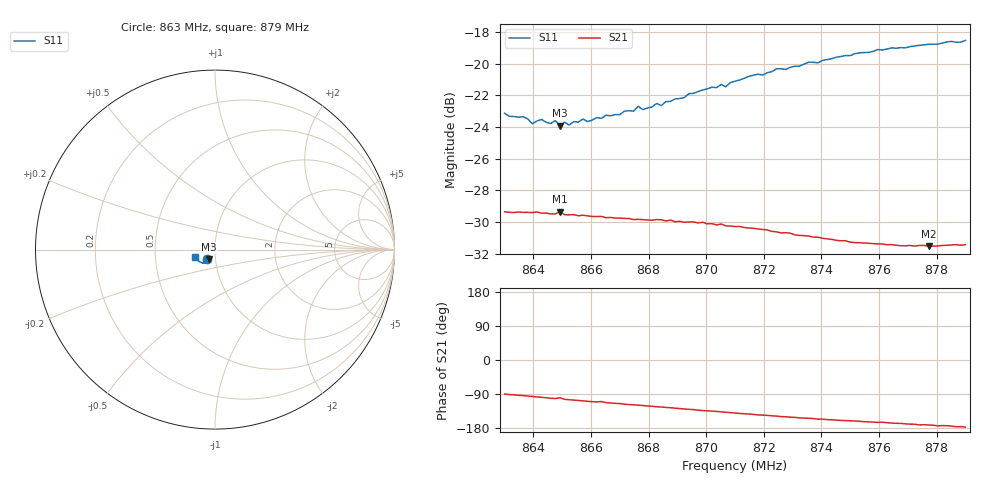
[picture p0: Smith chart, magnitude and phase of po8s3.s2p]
# HZ S RI R 50
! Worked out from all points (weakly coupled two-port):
!   101 points, 863 MHz to 879 MHz, reference 50 ohm
!   highest |S21| = -29.35 dB at 864.92 MHz (marker M1); lowest = -31.5 dB at 877.72 MHz (marker M2)
!   lowest |S11| = -23.9 dB at 864.92 MHz (marker M3), VSWR 1.14, Z = 46.5 - j5.06 ohm
!   |S11| at or under -10 dB: start of sweep to end of sweep
!   S12 and S22 are empty: the file has one direction only
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8.63e8  -0.0448 -0.0533  5.6e-05 -0.034  0 0  0 0
8.6364e8  -0.0411 -0.0541  -0.00228 -0.0338  0 0  0 0
8.6396e8  -0.039 -0.0514  -0.00367 -0.0336  0 0  0 0
8.6428e8  -0.0383 -0.0545  -0.00497 -0.0333  0 0  0 0
8.646e8  -0.0363 -0.0535  -0.00634 -0.0329  0 0  0 0
8.6476e8  -0.0371 -0.0546  -0.00675 -0.0328  0 0  0 0
8.6492e8  -0.0334 -0.0542  -0.00574 -0.0336  0 0  0 0
8.6572e8  -0.0344 -0.0573  -0.0102 -0.0316  0 0  0 0
8.6588e8  -0.0338 -0.0562  -0.0107 -0.0313  0 0  0 0
8.6748e8  -0.0331 -0.0626  -0.0153 -0.0283  0 0  0 0
8.6764e8  -0.0347 -0.0645  -0.0157 -0.0281  0 0  0 0
8.678e8  -0.0347 -0.0626  -0.0161 -0.0278  0 0  0 0
8.6828e8  -0.0352 -0.066  -0.0178 -0.0268  0 0  0 0
8.6844e8  -0.0356 -0.0645  -0.0179 -0.0266  0 0  0 0
8.694e8  -0.0395 -0.07  -0.0204 -0.0242  0 0  0 0
8.7052e8  -0.0452 -0.0731  -0.0227 -0.0213  0 0  0 0
8.7068e8  -0.0441 -0.0721  -0.0228 -0.0206  0 0  0 0
8.71e8  -0.0473 -0.0741  -0.0234 -0.0197  0 0  0 0
8.7372e8  -0.0672 -0.0753  -0.0256 -0.0121  0 0  0 0
8.7644e8  -0.0927 -0.063  -0.0261 -0.00631  0 0  0 0
8.7772e8  -0.1022 -0.0527  -0.0262 -0.00391  0 0  0 0
8.79e8  -0.1113 -0.04  -0.0267 -0.00144  0 0  0 0
